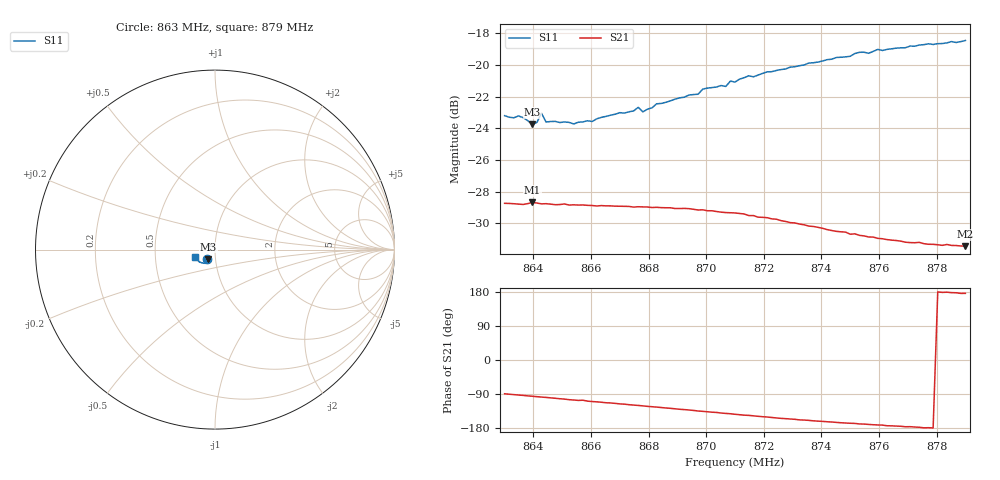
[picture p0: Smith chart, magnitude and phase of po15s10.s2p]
# HZ S RI R 50
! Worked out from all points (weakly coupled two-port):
!   101 points, 863 MHz to 879 MHz, reference 50 ohm
!   highest |S21| = -28.68 dB at 863.96 MHz (marker M1); lowest = -31.4 dB at 879 MHz (marker M2)
!   lowest |S11| = -23.8 dB at 863.96 MHz (marker M3), VSWR 1.14, Z = 46.1 - j4.87 ohm
!   |S11| at or under -10 dB: start of sweep to end of sweep
!   S12 and S22 are empty: the file has one direction only
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8.63e8  -0.0436 -0.0537  0.000596 -0.0366  0 0  0 0
8.6348e8  -0.0424 -0.0544  -0.00157 -0.0363  0 0  0 0
8.6396e8  -0.038 -0.0526  -0.00363 -0.0366  0 0  0 0
8.6412e8  -0.0382 -0.0536  -0.0043 -0.0364  0 0  0 0
8.6428e8  -0.0427 -0.0559  -0.00499 -0.0361  0 0  0 0
8.6444e8  -0.0378 -0.0541  -0.00553 -0.0361  0 0  0 0
8.654e8  -0.0346 -0.0551  -0.0097 -0.0349  0 0  0 0
8.6572e8  -0.0344 -0.0565  -0.01 -0.0347  0 0  0 0
8.6748e8  -0.0338 -0.0631  -0.0172 -0.0311  0 0  0 0
8.6764e8  -0.0354 -0.0644  -0.0178 -0.0309  0 0  0 0
8.678e8  -0.0333 -0.0628  -0.0184 -0.0305  0 0  0 0
8.6844e8  -0.0356 -0.0667  -0.0206 -0.0289  0 0  0 0
8.6972e8  -0.0401 -0.0702  -0.0245 -0.0248  0 0  0 0
8.6988e8  -0.0406 -0.0734  -0.0249 -0.0245  0 0  0 0
8.7068e8  -0.0441 -0.0733  -0.0265 -0.0215  0 0  0 0
8.7084e8  -0.0485 -0.0745  -0.0269 -0.0211  0 0  0 0
8.71e8  -0.0478 -0.0743  -0.0273 -0.0204  0 0  0 0
8.7148e8  -0.0515 -0.0767  -0.0278 -0.0186  0 0  0 0
8.7372e8  -0.0688 -0.0747  -0.0291 -0.0103  0 0  0 0
8.7532e8  -0.0838 -0.0706  -0.0284 -0.00567  0 0  0 0
8.7644e8  -0.093 -0.0631  -0.0278 -0.00305  0 0  0 0
8.79e8  -0.1128 -0.0393  -0.0267 0.00194  0 0  0 0
